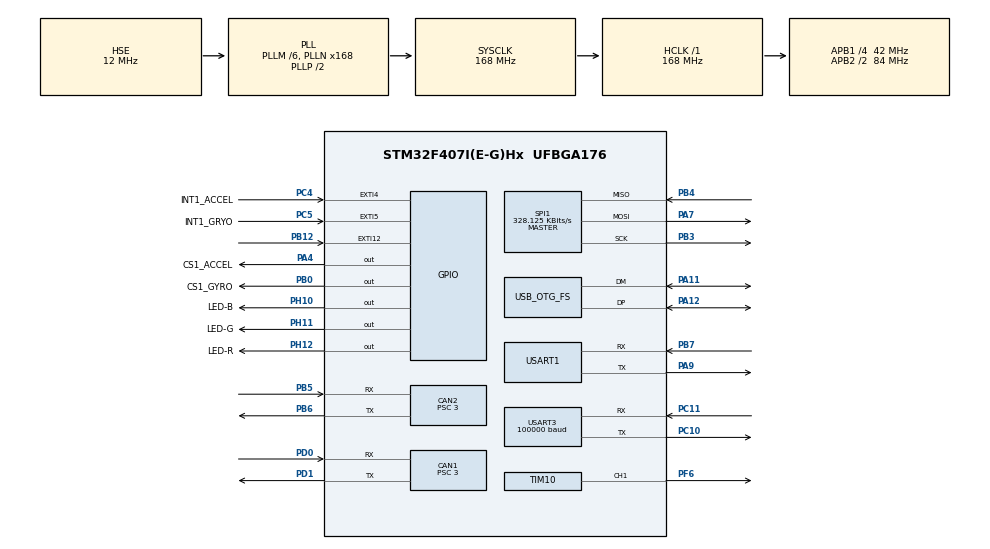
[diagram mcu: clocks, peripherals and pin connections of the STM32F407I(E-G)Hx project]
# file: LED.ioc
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CAN1.BS1=CAN_BS1_10TQ
CAN1.BS2=CAN_BS2_3TQ
CAN1.CalculateBaudRate=1000000
CAN1.CalculateTimeBit=1000
CAN1.CalculateTimeQuantum=71.42857142857143
CAN1.Prescaler=3
CAN2.BS1=CAN_BS1_10TQ
CAN2.BS2=CAN_BS2_3TQ
CAN2.CalculateBaudRate=1000000
CAN2.CalculateTimeBit=1000
CAN2.CalculateTimeQuantum=71.42857142857143
CAN2.NART=ENABLE
CAN2.Prescaler=3
Dma.Request0=USART3_RX
Dma.Request1=USART1_TX
Dma.Request2=SPI1_RX
Dma.Request3=SPI1_TX
Dma.SPI1_RX.2.Direction=DMA_PERIPH_TO_MEMORY
Dma.SPI1_RX.2.FIFOMode=DMA_FIFOMODE_DISABLE
Dma.SPI1_RX.2.Instance=DMA2_Stream2
Dma.SPI1_RX.2.MemDataAlignment=DMA_MDATAALIGN_BYTE
Dma.SPI1_RX.2.MemInc=DMA_MINC_ENABLE
Dma.SPI1_RX.2.Mode=DMA_NORMAL
Dma.SPI1_RX.2.PeriphDataAlignment=DMA_PDATAALIGN_BYTE
Dma.SPI1_RX.2.PeriphInc=DMA_PINC_DISABLE
Dma.SPI1_RX.2.Priority=DMA_PRIORITY_VERY_HIGH
Dma.SPI1_TX.3.Direction=DMA_MEMORY_TO_PERIPH
Dma.SPI1_TX.3.FIFOMode=DMA_FIFOMODE_DISABLE
Dma.SPI1_TX.3.Instance=DMA2_Stream3
Dma.SPI1_TX.3.MemDataAlignment=DMA_MDATAALIGN_BYTE
Dma.SPI1_TX.3.MemInc=DMA_MINC_ENABLE
Dma.SPI1_TX.3.Mode=DMA_NORMAL
Dma.SPI1_TX.3.PeriphDataAlignment=DMA_PDATAALIGN_BYTE
Dma.SPI1_TX.3.PeriphInc=DMA_PINC_DISABLE
Dma.SPI1_TX.3.Priority=DMA_PRIORITY_HIGH
Dma.USART1_TX.1.Direction=DMA_MEMORY_TO_PERIPH
Dma.USART1_TX.1.FIFOMode=DMA_FIFOMODE_DISABLE
Dma.USART1_TX.1.Instance=DMA2_Stream7
Dma.USART1_TX.1.MemDataAlignment=DMA_MDATAALIGN_BYTE
Dma.USART1_TX.1.MemInc=DMA_MINC_ENABLE
Dma.USART1_TX.1.Mode=DMA_NORMAL
Dma.USART1_TX.1.PeriphDataAlignment=DMA_PDATAALIGN_BYTE
Dma.USART1_TX.1.PeriphInc=DMA_PINC_DISABLE
Dma.USART1_TX.1.Priority=DMA_PRIORITY_LOW
Dma.USART3_RX.0.Direction=DMA_PERIPH_TO_MEMORY
Dma.USART3_RX.0.FIFOMode=DMA_FIFOMODE_DISABLE
Dma.USART3_RX.0.Instance=DMA1_Stream1
Dma.USART3_RX.0.MemDataAlignment=DMA_MDATAALIGN_BYTE
Dma.USART3_RX.0.MemInc=DMA_MINC_ENABLE
Dma.USART3_RX.0.Mode=DMA_CIRCULAR
Dma.USART3_RX.0.PeriphDataAlignment=DMA_PDATAALIGN_BYTE
Dma.USART3_RX.0.PeriphInc=DMA_PINC_DISABLE
Dma.USART3_RX.0.Priority=DMA_PRIORITY_HIGH
Mcu.Family=STM32F4
Mcu.Name=STM32F407I(E-G)Hx
Mcu.Package=UFBGA176
NVIC.CAN1_RX0_IRQn=true\:0\:0\:false\:false\:true\:true\:true\:true
NVIC.CAN2_RX0_IRQn=true\:0\:0\:false\:false\:true\:true\:true\:true
NVIC.DMA1_Stream1_IRQn=true\:0\:0\:false\:false\:true\:false\:true\:true
NVIC.DMA2_Stream2_IRQn=true\:0\:0\:false\:false\:true\:false\:true\:true
NVIC.DMA2_Stream3_IRQn=true\:0\:0\:false\:false\:true\:false\:true\:true
NVIC.DMA2_Stream7_IRQn=true\:0\:0\:false\:false\:true\:false\:true\:true
NVIC.EXTI15_10_IRQn=true\:0\:0\:false\:false\:true\:true\:true\:true
NVIC.OTG_FS_IRQn=true\:0\:0\:false\:false\:true\:false\:true\:true
NVIC.PriorityGroup=NVIC_PRIORITYGROUP_4
NVIC.USART1_IRQn=true\:0\:0\:false\:false\:true\:true\:true\:true
NVIC.USART3_IRQn=true\:0\:0\:false\:false\:true\:true\:true\:true
PA11.Mode=Device_Only
PA11.Signal=USB_OTG_FS_DM
PA12.Mode=Device_Only
PA12.Signal=USB_OTG_FS_DP
PA13.Mode=Serial_Wire
PA13.Signal=SYS_JTMS-SWDIO
PA14.Mode=Serial_Wire
PA14.Signal=SYS_JTCK-SWCLK
PA4.GPIO_Label=CS1_ACCEL
PA4.GPIO_PuPd=GPIO_PULLUP
PA4.GPIO_Speed=GPIO_SPEED_FREQ_HIGH
PA4.PinState=GPIO_PIN_SET
PA4.Signal=GPIO_Output
PA7.Mode=Full_Duplex_Master
PA7.Signal=SPI1_MOSI
PA9.Mode=Asynchronous
PA9.Signal=USART1_TX
PB0.GPIO_Label=CS1_GYRO
PB0.GPIO_PuPd=GPIO_PULLUP
PB0.GPIO_Speed=GPIO_SPEED_FREQ_HIGH
PB0.PinState=GPIO_PIN_SET
PB0.Signal=GPIO_Output
PB12.GPIO_ModeDefaultEXTI=GPIO_MODE_IT_RISING_FALLING
PB12.Signal=GPXTI12
PB3.Mode=Full_Duplex_Master
PB3.Signal=SPI1_SCK
PB4.Mode=Full_Duplex_Master
PB4.Signal=SPI1_MISO
PB5.Mode=CAN_Activate
PB5.Signal=CAN2_RX
PB6.Mode=CAN_Activate
PB6.Signal=CAN2_TX
PB7.Mode=Asynchronous
PB7.Signal=USART1_RX
PC10.Mode=Asynchronous
PC10.Signal=USART3_TX
PC11.Mode=Asynchronous
PC11.Signal=USART3_RX
PC14-OSC32_IN.Mode=LSE-External-Oscillator
PC14-OSC32_IN.Signal=RCC_OSC32_IN
PC15-OSC32_OUT.Mode=LSE-External-Oscillator
PC15-OSC32_OUT.Signal=RCC_OSC32_OUT
PC4.GPIO_Label=INT1_ACCEL
PC4.GPIO_PuPd=GPIO_PULLUP
PC4.Signal=GPXTI4
PC5.GPIO_Label=INT1_GRYO
PC5.GPIO_PuPd=GPIO_PULLUP
PC5.Signal=GPXTI5
PD0.Mode=CAN_Activate
PD0.Signal=CAN1_RX
PD1.Mode=CAN_Activate
PD1.Signal=CAN1_TX
PF6.GPIO_Speed=GPIO_SPEED_FREQ_HIGH
PF6.Signal=S_TIM10_CH1
PH0-OSC_IN.Mode=HSE-External-Oscillator
PH0-OSC_IN.Signal=RCC_OSC_IN
PH1-OSC_OUT.Mode=HSE-External-Oscillator
PH1-OSC_OUT.Signal=RCC_OSC_OUT
PH10.GPIO_Label=LED-B
PH10.PinState=GPIO_PIN_RESET
PH10.Signal=GPIO_Output
PH11.GPIO_Label=LED-G
PH11.PinState=GPIO_PIN_RESET
PH11.Signal=GPIO_Output
PH12.GPIO_Label=LED-R
PH12.PinState=GPIO_PIN_RESET
PH12.Signal=GPIO_Output
ProjectManager.HeapSize=0x200
ProjectManager.StackSize=0x400
ProjectManager.TargetToolchain=STM32CubeIDE
RCC.48MHZClocksFreq_Value=48000000
RCC.AHBFreq_Value=168000000
RCC.APB1CLKDivider=RCC_HCLK_DIV4
RCC.APB1Freq_Value=42000000
RCC.APB1TimFreq_Value=84000000
RCC.APB2CLKDivider=RCC_HCLK_DIV2
RCC.APB2Freq_Value=84000000
RCC.APB2TimFreq_Value=168000000
RCC.CortexFreq_Value=168000000
RCC.HCLKFreq_Value=168000000
RCC.HSE_VALUE=12000000
RCC.HSI_VALUE=16000000
RCC.PLLM=6
RCC.PLLN=168
RCC.PLLQ=7
RCC.SYSCLKFreq_VALUE=168000000
RCC.SYSCLKSource=RCC_SYSCLKSOURCE_PLLCLK
RCC.VCOOutputFreq_Value=336000000
SH.S_TIM10_CH1.0=TIM10_CH1,PWM Generation1 CH1
SPI1.BaudRatePrescaler=SPI_BAUDRATEPRESCALER_256
SPI1.CLKPhase=SPI_PHASE_2EDGE
SPI1.CLKPolarity=SPI_POLARITY_HIGH
SPI1.CalculateBaudRate=328.125 KBits/s
SPI1.Direction=SPI_DIRECTION_2LINES
SPI1.Mode=SPI_MODE_MASTER
SPI1.VirtualType=VM_MASTER
TIM10.Channel=TIM_CHANNEL_1
TIM10.Period=4999
USART1.VirtualMode=VM_ASYNC
USART3.BaudRate=100000
USART3.VirtualMode=VM_ASYNC
USB_DEVICE.CLASS_NAME_FS=CDC
USB_DEVICE.VirtualMode-CDC_FS=Cdc
USB_DEVICE.VirtualModeFS=Cdc_FS
USB_OTG_FS.VirtualMode=Device_Only
VP_TIM10_VS_ClockSourceINT.Mode=Enable_Timer
VP_USB_DEVICE_VS_USB_DEVICE_CDC_FS.Mode=CDC_FS
board=custom

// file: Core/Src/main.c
/* USER CODE BEGIN Header */
/**
  ******************************************************************************
  * @file           : main.c
  * @brief          : Main program body
  ******************************************************************************
  * @attention
  *
  * Copyright (c) 2025 STMicroelectronics.
  * All rights reserved.
  *
  * This software is licensed under terms that can be found in the LICENSE file
  * in the root directory of this software component.
  * If no LICENSE file comes with this software, it is provided AS-IS.
  *
  ******************************************************************************
  */
/* USER CODE END Header */
#include "main.h"
#include "can.h"
#include "dma.h"
#include "spi.h"
#include "tim.h"
#include "usart.h"
#include "usb_device.h"
#include "gpio.h"

/* USER CODE BEGIN Includes */

#define UART1_RX_BUFFER_SIZE 128
uint8_t uart1_rx_buffer[UART1_RX_BUFFER_SIZE];
uint8_t uart1_rx_byte; // 单字节接收缓冲区
uint8_t uart1_line_buffer[128]; // 行缓冲区
uint16_t uart1_line_pos = 0; // 行缓冲区当前位置

#define UART1_RX_BUFFER_SIZE 128
// 自定义头文件
#include <math.h>
#include <stdio.h>
#include <string.h>
#include "bsp_can.h"
#include "pid.h"
#include "../application/CAN_receive.h"
#include "../application/remote_control.h"
#include "../application/BMI088driver.h"
#include"../Inc/goal_receiver.h"
// 位置环PID控制器
motor_pid_t pos_x_pid, pos_y_pid;

/* USER CODE END Includes */

/* USER CODE BEGIN PD */
//自定义私有类型定义 (typedef)

#define UART_QUEUE_SIZE 32

typedef struct {
    char buffer[128];
    uint16_t length;
} uart_queue_item_t;

uart_queue_item_t uart_queue[UART_QUEUE_SIZE];
uint16_t uart_queue_head = 0;
uint16_t uart_queue_tail = 0;
uint8_t dma_tx_complete = 1;  // DMA 传输完成标志位
int16_t led_cnt;  // LED计数器
extern motor_measure_t motor_chassis; // 外部定义的电机信息结构体
uint8_t g_rising_edge_triggered = 0; // 下降沿触发标志位
uint32_t g_trigger_timestamp = 0; // 下降沿触发时间戳

// uart 消息发送添加队列函数
void uart_queue_send(const char* data, uint16_t length) {
    if ((uart_queue_head + 1) % UART_QUEUE_SIZE != uart_queue_tail) {
        strncpy(uart_queue[uart_queue_head].buffer, data, length);
        uart_queue[uart_queue_head].length = length;
        uart_queue_head = (uart_queue_head + 1) % UART_QUEUE_SIZE;
    }
}

void process_uart_queue(void) {
    if (dma_tx_complete && uart_queue_tail != uart_queue_head) {
        dma_tx_complete = 0;
        HAL_UART_Transmit_DMA(&huart1,
                            (uint8_t *)uart_queue[uart_queue_tail].buffer,
                            uart_queue[uart_queue_tail].length);
        uart_queue_tail = (uart_queue_tail + 1) % UART_QUEUE_SIZE;
    }
}

/* USER CODE END PD */

/* USER CODE BEGIN PV */

double msp(double x, double in_min, double in_max, double out_min, double out_max)//映射函数，将编码器的值（0~8191）转换为弧度制的角度值（-pi~pi）
{
    return (x-in_min)*(out_max-out_min)/(in_max-in_min)+out_min;
}

// 状态机s
int type=3;

// BMI088 变量定义
fp32 gyro[3], accel[3], temp;

// 全局变量
float accel_x, accel_y, accel_z; // 加速度计测量值
float usb_target_speeds[4] = {0.0f};
float accel_true[3] = {0.0f};
float accel_bias[3] = {0.0f};
int32_t uart_x = 0;  // 从串口接收的X坐标
int32_t uart_y = 0;  // 从串口接收的Y坐标
float accel_x_true, accel_y_true, accel_z_true; // 真实加速度
float accel_x_bias = 0.0f, accel_y_bias = 0.0f, accel_z_bias = 0.0f; // 加速度计零偏
uint32_t previous_time_stamp = 0; // 上一次的时间戳
uint32_t current_time_stamp = 0;  // 当前的时间戳

// Wz 保持控制
float current_angle = 0.0f;   // 当前方向角度
float current_angle_err = 0.0f; // 零飘
motor_pid_t wz_pid;          // 用于 Wz 轴回正的 PID 控制器
float target_wz = 0.0f;     // 目标Wz值，即0

// 卡尔曼滤波参数 (需要根据实际情况调整)
float Q_accel = 0.001f; // 过程噪声 (加速度)
float Q_bias = 0.00001f; // 过程噪声 (零偏)
float R_accel_meas = 0.01f; // 测量噪声 (加速度计)

float P[2][2] = {{1.0f, 0.0f}, {0.0f, 1.0f}}; // 初始状态协方差矩阵

// 卡尔曼滤波更新 (单轴)
void kalman_filter_accel(float measured_accel, float *true_accel, float *bias, int axis) {
    // 1. 预测步骤
    float F[2][2] = {{1.0f, 0.0f}, {0.0f, 1.0f}}; // 状态转移矩阵
    float x_hat[2] = {*true_accel, *bias}; // 状态向量

    // 预测状态
    float x_hat_predicted[2];
    x_hat_predicted[0] = F[0][0] * x_hat[0] + F[0][1] * x_hat[1];
    x_hat_predicted[1] = F[1][0] * x_hat[0] + F[1][1] * x_hat[1];

    // 预测协方差矩阵
    float P_predicted[2][2];
    P_predicted[0][0] = F[0][0] * P[0][0] * F[0][0] + F[0][1] * P[1][0] * F[0][0] + F[0][0] * P[0][1] * F[1][0] + F[0][1] * P[1][1] * F[1][0] + Q_accel;
    P_predicted[0][1] = F[0][0] * P[0][0] * F[0][1] + F[0][1] * P[1][0] * F[0][1] + F[0][0] * P[0][1] * F[1][1] + F[0][1] * P[1][1] * F[1][1];
    P_predicted[1][0] = F[1][0] * P[0][0] * F[0][0] + F[1][1] * P[1][0] * F[0][0] + F[1][0] * P[0][1] * F[1][0] + F[1][1] * P[1][1] * F[1][0];
    P_predicted[1][1] = F[1][0] * P[0][0] * F[0][1] + F[1][1] * P[1][0] * F[0][1] + F[1][0] * P[0][1] * F[1][1] + F[1][1] * P[1][1] * F[1][1] + Q_bias;

    // 2. 更新步骤
    float H[1][2] = {{1.0f, 1.0f}}; // 测量矩阵
    float z = measured_accel; // 测量值

    // 计算残差
    float y = z - (H[0][0] * x_hat_predicted[0] + H[0][1] * x_hat_predicted[1]);

    // 计算残差协方差
    float S = H[0][0] * P_predicted[0][0] * H[0][0] + H[0][1] * P_predicted[1][0] * H[0][0] + H[0][0] * P_predicted[0][1] * H[0][1] + H[0][1] * P_predicted[1][1] * H[0][1] + R_accel_meas;

    // 计算卡尔曼增益
    float K[2];
    K[0] = (P_predicted[0][0] * H[0][0] + P_predicted[0][1] * H[0][1]) / S;
    K[1] = (P_predicted[1][0] * H[0][0] + P_predicted[1][1] * H[0][1]) / S;

    // 更新状态估计
    *true_accel = x_hat_predicted[0] + K[0] * y;
    *bias = x_hat_predicted[1] + K[1] * y;

    // 更新协方差矩阵
    P[0][0] = (1 - K[0] * H[0][0]) * P_predicted[0][0] - K[0] * H[0][1] * P_predicted[1][0];
    P[0][1] = (1 - K[0] * H[0][0]) * P_predicted[0][1] - K[0] * H[0][1] * P_predicted[1][1];
    P[1][0] = -K[1] * H[0][0] * P_predicted[0][0] + (1 - K[1] * H[0][1]) * P_predicted[1][0];
    P[1][1] = -K[1] * H[0][0] * P_predicted[0][1] + (1 - K[1] * H[0][1]) * P_predicted[1][1];
}

/* USER CODE END PV */

void SystemClock_Config(void);

int main(void)
{

  /* MCU Configuration--------------------------------------------------------*/

  /* Reset of all peripherals, Initializes the Flash interface and the Systick. */
  HAL_Init();

  /* Configure the system clock */
  SystemClock_Config();

  /* Initialize all configured peripherals */
  MX_GPIO_Init();
  MX_DMA_Init();
  MX_CAN1_Init();
  MX_USART1_UART_Init();
  MX_USART3_UART_Init();
  MX_CAN2_Init();
  MX_SPI1_Init();
  MX_TIM10_Init();
  MX_USB_DEVICE_Init();
  /* USER CODE BEGIN 2 */
    // 时间刻初始化
    current_time_stamp = HAL_GetTick();
    previous_time_stamp  = HAL_GetTick();

    while (BMI088_init());              // BMI088 初始化
    can_filter_init();                  // can初始化
    remote_control_init();              // 遥控器初始化
    const RC_ctrl_t *rc_ctrl_point;     // 声明遥控器数据指针
    char uart_buffer[256];              // 定义 UART 输出缓冲区

    // 目标速度 - 现在使用左右轮差速控制
    float target_left_speed = 0.0f;  // 左轮速度 (rpm)
    float target_right_speed = 0.0f; // 右轮速度 (rpm)

    // 初始化左右轮电机的 PID 控制器
    motor_pid_t left_pid, right_pid;
    pid_init(&left_pid, 3.5, 0.01, 0.0, 30000, 16384);
    pid_init(&right_pid, 3.5, 0.01, 0.0, 30000, 16384);

    // Wz 正对方向pid控制
    pid_init(&wz_pid, 1.5, 0.00, 0.0, 500, 660);

    // 位置环PID初始化
    pid_init(&pos_x_pid, 0.6f, 0.01f, 0.2f, 1000, 300); // X方向位置环
    pid_init(&pos_y_pid, 0.6f, 0.01f, 0.2f, 1000, 300); // Y方向位置环

  /* USER CODE END 2 */

  /* Infinite loop */
  /* USER CODE BEGIN WHILE */
  while (1)
  {

      // DM电机使能
      CAN_cmd_motor_control(0x1,0,true);
      CAN_cmd_motor_control(0x2,0,true);
      CAN_cmd_motor_control(0x3,0,true);

      // 时间刻记录
      current_time_stamp = HAL_GetTick();

      // BMI088读取
      BMI088_read(gyro, accel, &temp);

      // 获取遥控器数据指针
      rc_ctrl_point = get_remote_control_point();

      if (rc_ctrl_point != NULL){
          // 遥控右拨杆控制
          char s = rc_ctrl_point->rc.s[0];
          if (s == '\003' | s == '\000'){type=3;}       // 初始0位中档3位 失能
          if (s == '\001'){type=1;}                     // 上拨1位 遥控控制
          if (s == '\002'){type=0;}                     // 下拨2位 角度保持
      }

      // 初始化
      // 添加USB控制模式
      GoalReceiver_KalmanFilterUpdate(accel, accel_true, accel_bias);

      // USB控制模式
      if (type == 0) {
          // 计算时间差
          uint32_t dt_ms = current_time_stamp - previous_time_stamp;

          // USB控制模式 - 使用从USB接收的目标信息
          GoalReceiver_MotorControlUpdate_WithDeceleration(usb_target_speeds, gyro, dt_ms);

          target_left_speed = (usb_target_speeds[0] + usb_target_speeds[1]) / 2.0f;
          target_right_speed = (usb_target_speeds[2] + usb_target_speeds[3]) / 2.0f;

          // 使用goal_receiver中的PID控制器计算输出
          const motor_measure_t *motor1 = get_chassis_motor_measure_point(0);
          const motor_measure_t *motor2 = get_chassis_motor_measure_point(1);
          const motor_measure_t *motor3 = get_chassis_motor_measure_point(2);
          const motor_measure_t *motor4 = get_chassis_motor_measure_point(3);

          // 计算左右轮平均速度
          const float left_avg_speed = (motor1->speed_rpm + motor2->speed_rpm) / 2.0f;
          const float right_avg_speed = (motor3->speed_rpm + motor4->speed_rpm) / 2.0f;

          const float output_left = pid_calc(GoalReceiver_GetMotorPid(0), target_left_speed, left_avg_speed);
          const float output_right = pid_calc(GoalReceiver_GetMotorPid(1), target_right_speed, right_avg_speed);

          // 差速控制：左轮控制左前和左后，右轮控制右前和右后
          CAN_cmd_chassis((int16_t)output_left, (int16_t)output_right, (int16_t)output_left, (int16_t)output_right);
      }

      // 遥控控制模式
      if (type == 1){
          if (rc_ctrl_point != NULL){
              // 获取摇杆数据
              const float z = -((float) rc_ctrl_point->rc.ch[0]); // 左右摇杆，控制旋转
              const float y = (float) rc_ctrl_point->rc.ch[1];    // 上下摇杆，控制前进后退
              const float w = (float) rc_ctrl_point->rc.ch[3];    // 速度控制

              // 映射摇杆数据到 -1 到 1 的范围
              float z_normalized = z / 660.0f;
              float y_normalized = y / 660.0f;
              float w_normalized = w / 660.0f;

              // 添加死区
              float deadzone = 0.05f;
              if (fabsf(z_normalized) < deadzone) {
                  z_normalized = 0.0f;
              }
              if (fabsf(y_normalized) < deadzone) {
                  y_normalized = 0.0f;
              }
              if (fabsf(w_normalized) < deadzone) {
                  w_normalized = 0.0f;
              }

              // 差速控制计算
              // 基础速度 = 前进后退控制
              const float base_speed = y_normalized * 1000 * (w_normalized + 1);

              // 转向控制 = 旋转控制
              const float turn_speed = z_normalized * 500 * (w_normalized + 1);

              // 左右轮速度计算
              target_left_speed = base_speed - turn_speed;   // 左转时左轮减速，右转时左轮加速
              target_right_speed = base_speed + turn_speed;  // 左转时右轮加速，右转时右轮减速
          }
      }

      // 位置保持模式
      if (type == 2){
          // 获取摇杆数据
          float z = -((float) rc_ctrl_point->rc.ch[0]); // 左右摇杆，控制旋转
          float y = (float) rc_ctrl_point->rc.ch[1];    // 上下摇杆，控制前进后退
          float w = (float) rc_ctrl_point->rc.ch[3];    // 速度控制

          // 映射摇杆数据到 -1 到 1 的范围
          float z_normalized = z / 660.0f;
          float y_normalized = y / 660.0f;
          float w_normalized = w / 660.0f;

          // 添加死区
          float deadzone = 0.05f;
          if (fabs(z_normalized) < deadzone) {
              z_normalized = 0.0f;
          }
          if (fabs(y_normalized) < deadzone) {
              y_normalized = 0.0f;
          }
          if (fabs(w_normalized) < deadzone) {
              w_normalized = 0.0f;
          }

          // 陀螺仪角度保持
          float dt = (current_time_stamp - previous_time_stamp) / 1000.0f; // 转换为秒
          current_angle += (gyro[2] * dt) - (dt * current_angle_err);
          float wz_compensation = pid_calc(&wz_pid, target_wz, current_angle);

          // 差速控制计算
          float base_speed = y_normalized * 1000 * (w_normalized + 1);
          float turn_speed = z_normalized * 500 * (w_normalized + 1) + wz_compensation;

          target_left_speed = base_speed - turn_speed;
          target_right_speed = base_speed + turn_speed;
      }

      // 停止模式
      if (type == 3){
          target_left_speed = 0;
          target_right_speed = 0;
      }

      // 获取四个电机的速度
      const motor_measure_t *motor1 = get_chassis_motor_measure_point(0);
      const motor_measure_t *motor2 = get_chassis_motor_measure_point(1);
      const motor_measure_t *motor3 = get_chassis_motor_measure_point(2);
      const motor_measure_t *motor4 = get_chassis_motor_measure_point(3);

      // 计算左右轮平均速度
      float left_avg_speed = (motor1->speed_rpm + motor2->speed_rpm) / 2.0f;
      float right_avg_speed = (motor3->speed_rpm + motor4->speed_rpm) / 2.0f;

      // PID 计算
      float output_left = pid_calc(&left_pid, target_left_speed, left_avg_speed);
      float output_right = pid_calc(&right_pid, target_right_speed, right_avg_speed);

      // 差速控制：左轮控制左前和左后，右轮控制右前和右后
      CAN_cmd_chassis((int16_t)output_left, (int16_t)output_right, (int16_t)output_left, (int16_t)output_right);

      // 加速度数据处理
      accel_x = accel[0];
      accel_y = accel[1];
      accel_z = accel[2];

      // 卡尔曼滤波
      kalman_filter_accel(accel_x, &accel_x_true, &accel_x_bias, 0);
      kalman_filter_accel(accel_y, &accel_y_true, &accel_y_bias, 1);
      kalman_filter_accel(accel_z, &accel_z_true, &accel_z_bias, 2);

      // LED闪烁和UART队列处理
      led_cnt++;
      if (led_cnt == 2) {
          led_cnt = 0;
          HAL_GPIO_TogglePin(GPIOH, GPIO_PIN_11);

          if(dma_tx_complete == 1){
              process_uart_queue();
          }
      }

      previous_time_stamp = current_time_stamp;
  }
  /* USER CODE END 3 */
}

void SystemClock_Config(void)
{
  RCC_OscInitTypeDef RCC_OscInitStruct = {0};
  RCC_ClkInitTypeDef RCC_ClkInitStruct = {0};

  /** Configure the main internal regulator output voltage
  */
  __HAL_RCC_PWR_CLK_ENABLE();
  __HAL_PWR_VOLTAGESCALING_CONFIG(PWR_REGULATOR_VOLTAGE_SCALE1);

  /** Initializes the RCC Oscillators according to the specified parameters
  * in the RCC_OscInitTypeDef structure.
  */
  RCC_OscInitStruct.OscillatorType = RCC_OSCILLATORTYPE_HSE;
  RCC_OscInitStruct.HSEState = RCC_HSE_ON;
  RCC_OscInitStruct.PLL.PLLState = RCC_PLL_ON;
  RCC_OscInitStruct.PLL.PLLSource = RCC_PLLSOURCE_HSE;
  RCC_OscInitStruct.PLL.PLLM = 6;
  RCC_OscInitStruct.PLL.PLLN = 168;
  RCC_OscInitStruct.PLL.PLLP = RCC_PLLP_DIV2;
  RCC_OscInitStruct.PLL.PLLQ = 7;
  if (HAL_RCC_OscConfig(&RCC_OscInitStruct) != HAL_OK)
  {
    Error_Handler();
  }

  /** Initializes the CPU, AHB and APB buses clocks
  */
  RCC_ClkInitStruct.ClockType = RCC_CLOCKTYPE_HCLK|RCC_CLOCKTYPE_SYSCLK
                              |RCC_CLOCKTYPE_PCLK1|RCC_CLOCKTYPE_PCLK2;
  RCC_ClkInitStruct.SYSCLKSource = RCC_SYSCLKSOURCE_PLLCLK;
  RCC_ClkInitStruct.AHBCLKDivider = RCC_SYSCLK_DIV1;
  RCC_ClkInitStruct.APB1CLKDivider = RCC_HCLK_DIV4;
  RCC_ClkInitStruct.APB2CLKDivider = RCC_HCLK_DIV2;

  if (HAL_RCC_ClockConfig(&RCC_ClkInitStruct, FLASH_LATENCY_5) != HAL_OK)
  {
    Error_Handler();
  }
}

/* USER CODE BEGIN 4 */
// DMA 传输完成回调函数
void HAL_UART_TxCpltCallback(UART_HandleTypeDef *huart)
{
    if (huart->Instance == USART1)
    {
        dma_tx_complete = 1;  // 设置 DMA 传输完成标志位
    }
}

void HAL_UART_RxCpltCallback(UART_HandleTypeDef *huart)
{
    if(huart->Instance == USART1) {
        // 检查是否收到换行符
        if(uart1_rx_byte == '\n') {
            // 完成一行接收，添加字符串结束符
            uart1_line_buffer[uart1_line_pos] = '\0';

            // 尝试解析"int,int"格式的坐标
            if(sscanf((char*)uart1_line_buffer, "%d,%d", &uart_y, &uart_x) == 2) {
                char temp_buffer[64];
                snprintf(temp_buffer, sizeof(temp_buffer), "Parsed coordinates: X=%d, Y=%d\r\n",
                        uart_y, uart_x);
                uart_queue_send(temp_buffer, strlen(temp_buffer));
            }

            // 重置行缓冲区
            uart1_line_pos = 0;
        } else {
            // 存储接收到的字节
            if(uart1_line_pos < sizeof(uart1_line_buffer)-1) {
                uart1_line_buffer[uart1_line_pos++] = uart1_rx_byte;
            }
        }

        // 重新启动单字节接收
        HAL_UART_Receive_IT(&huart1, &uart1_rx_byte, 1);
    }
}

/* PB12中断回调函数 */
void HAL_GPIO_EXTI_Callback(uint16_t GPIO_Pin)
{
    if(GPIO_Pin == GPIO_PIN_12) {
        static uint32_t last_interrupt_time = 0;
        uint32_t current_time = HAL_GetTick();
        char temp_buffer[64];

        // 消抖处理(50ms)
        if(current_time - last_interrupt_time > 50) {
            // 翻转LED作为调试指示
            HAL_GPIO_TogglePin(GPIOH, GPIO_PIN_10);

            if(HAL_GPIO_ReadPin(GPIOB, GPIO_PIN_12) == GPIO_PIN_SET) {
                // 上升沿触发
                snprintf(temp_buffer, sizeof(temp_buffer),
                        "[INT] PB12 Rising Edge at %lums\r\n", current_time);
            }
            uart_queue_send(temp_buffer, strlen(temp_buffer));
            last_interrupt_time = current_time;
        }
    }
}
/* USER CODE END 4 */

void Error_Handler(void)
{
  __disable_irq();
  while (1)
  {
  }
}
